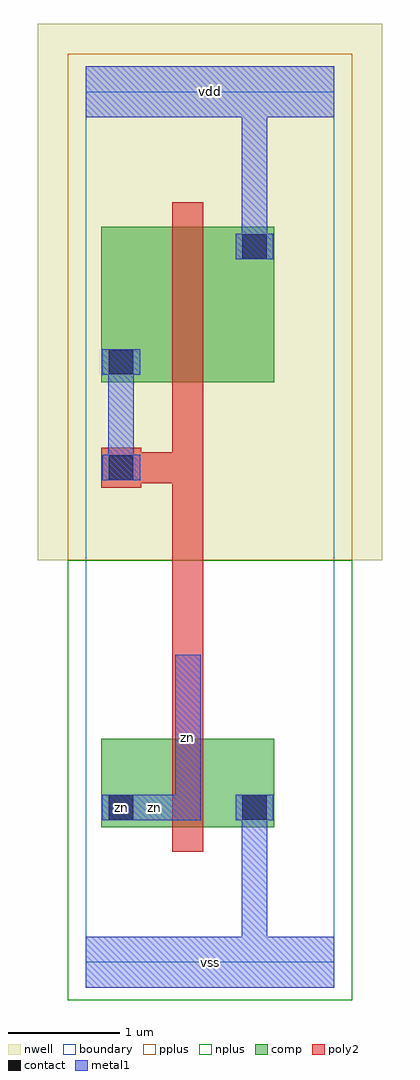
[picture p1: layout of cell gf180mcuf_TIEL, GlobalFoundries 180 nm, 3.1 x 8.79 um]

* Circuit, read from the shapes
.subckt gf180mcuf_TIEL vdd vss zn
XM1 vss n1 zn VSUBS nfet_03v3 w=0.8u l=0.28u
XM2 vdd n1 n1 n2 pfet_03v3 w=1.4u l=0.28u
.ends

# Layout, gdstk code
import gdstk
lib = gdstk.Library(unit=1e-6, precision=1e-09)
def R(c, l, rs):  # rectangles x0, y0, x1, y1
    for r in rs: c.add(gdstk.rectangle(r[:2], r[2:], *l))
boundary = (0, 0)
nwell = (21, 0)
comp = (22, 0)
poly2 = (30, 0)
pplus = (31, 0)
nplus = (32, 0)
contact = (33, 0)
metal1 = (34, 0)

gf180mcuf_tiel = lib.new_cell('gf180mcuf_TIEL')
R(gf180mcuf_tiel, boundary, [(0,0,2.24,7.84)])
R(gf180mcuf_tiel, nwell, [(-0.43,3.62,2.67,8.45)])
R(gf180mcuf_tiel, comp, [(0.14,1.215,1.7,2.015), (0.14,1.215,0.5,1.575), (1.34,1.215,1.7,1.575), (0.14,5.225,1.7,6.625), (0.14,5.225,0.5,5.585), (1.34,6.265,1.7,6.625)])
R(gf180mcuf_tiel, poly2, [(0.78,0.995,1.06,2.235), (0.78,1.255,1.06,4.595), (0.78,3.715,1.06,4.595), (0.14,4.275,0.5,4.635), (0.18,4.315,1.06,4.595), (0.78,4.315,1.06,5.545), (0.78,5.005,1.06,6.845)])
R(gf180mcuf_tiel, pplus, [(-0.16,3.62,2.4,7.5), (-0.16,7.5,2.4,8.18)])
R(gf180mcuf_tiel, nplus, [(-0.16,-0.34,2.4,0.34), (-0.16,0.34,2.4,3.62)])
R(gf180mcuf_tiel, contact, [(0.21,1.285,0.43,1.505), (1.41,1.285,1.63,1.505), (0.21,4.345,0.43,4.565), (0.21,5.295,0.43,5.515), (1.41,6.335,1.63,6.555)])
R(gf180mcuf_tiel, metal1, [(0,-0.23,2.24,0.23), (1.405,0.065,1.635,1.51), (0.15,1.28,0.49,1.51), (0.205,1.28,1.035,1.51), (0.805,1.28,1.035,2.77), (1.35,1.28,1.69,1.51), (0.15,4.34,0.49,4.57), (0.205,4.34,0.435,5.52), (0.15,5.29,0.49,5.52), (1.35,6.33,1.69,6.56), (1.405,6.33,1.635,7.775), (0,7.61,2.24,8.07)])
gf180mcuf_tiel.add(gdstk.FlexPath([(0.14,0.575),(1.7,0.575)], 0, ends="flush", simple_path=True, layer=0, datatype=0))  # boundary
gf180mcuf_tiel.add(gdstk.FlexPath([(0.14,1.395),(1.7,1.395)], 0, ends="flush", simple_path=True, layer=0, datatype=0))  # boundary
gf180mcuf_tiel.add(gdstk.FlexPath([(0.14,2.655),(1.7,2.655)], 0, ends="flush", simple_path=True, layer=0, datatype=0))  # boundary
gf180mcuf_tiel.add(gdstk.FlexPath([(0.14,3.255),(1.7,3.255)], 0, ends="flush", simple_path=True, layer=0, datatype=0))  # boundary
gf180mcuf_tiel.add(gdstk.FlexPath([(0.14,3.855),(1.7,3.855)], 0, ends="flush", simple_path=True, layer=0, datatype=0))  # boundary
gf180mcuf_tiel.add(gdstk.FlexPath([(0.14,4.455),(1.7,4.455)], 0, ends="flush", simple_path=True, layer=0, datatype=0))  # boundary
gf180mcuf_tiel.add(gdstk.FlexPath([(0.14,5.405),(1.7,5.405)], 0, ends="flush", simple_path=True, layer=0, datatype=0))  # boundary
gf180mcuf_tiel.add(gdstk.FlexPath([(0.14,6.445),(1.7,6.445)], 0, ends="flush", simple_path=True, layer=0, datatype=0))  # boundary
gf180mcuf_tiel.add(gdstk.FlexPath([(0.14,7.265),(1.7,7.265)], 0, ends="flush", simple_path=True, layer=0, datatype=0))  # boundary
gf180mcuf_tiel.add(gdstk.FlexPath([(0.32,0.065),(0.32,7.775)], 0, ends="flush", simple_path=True, layer=0, datatype=0))  # boundary
gf180mcuf_tiel.add(gdstk.FlexPath([(0.92,0.065),(0.92,7.775)], 0, ends="flush", simple_path=True, layer=0, datatype=0))  # boundary
gf180mcuf_tiel.add(gdstk.FlexPath([(1.52,0.065),(1.52,7.775)], 0, ends="flush", simple_path=True, layer=0, datatype=0))  # boundary
gf180mcuf_tiel.add(gdstk.Label('zn', (0.32,1.395), layer=22, texttype=0))
gf180mcuf_tiel.add(gdstk.Label('zn', (0.32,1.395), layer=33, texttype=0))
gf180mcuf_tiel.add(gdstk.Label('zn', (0.32,1.395), layer=34, texttype=10))
gf180mcuf_tiel.add(gdstk.Label('zn', (0.62,1.395), layer=34, texttype=10))
gf180mcuf_tiel.add(gdstk.Label('zn', (0.92,2.025), layer=34, texttype=10))
gf180mcuf_tiel.add(gdstk.Label('vss', (1.12,0), layer=34, texttype=10))
gf180mcuf_tiel.add(gdstk.Label('vdd', (1.12,7.84), layer=34, texttype=10))

lib.write_gds('gf180mcuf_TIEL.gds')
